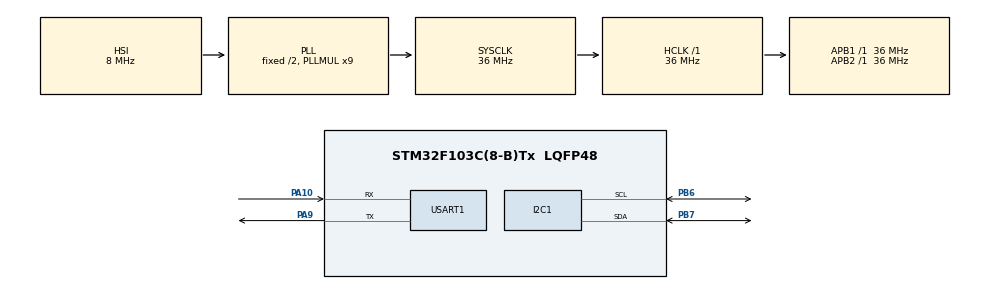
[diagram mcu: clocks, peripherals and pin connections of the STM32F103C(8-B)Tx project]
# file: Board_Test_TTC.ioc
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Mcu.Family=STM32F1
Mcu.Name=STM32F103C(8-B)Tx
Mcu.Package=LQFP48
NVIC.PriorityGroup=NVIC_PRIORITYGROUP_4
PA10.Mode=Asynchronous
PA10.Signal=USART1_RX
PA13.Mode=Serial_Wire
PA13.Signal=SYS_JTMS-SWDIO
PA14.Mode=Serial_Wire
PA14.Signal=SYS_JTCK-SWCLK
PA9.Mode=Asynchronous
PA9.Signal=USART1_TX
PB6.Mode=I2C
PB6.Signal=I2C1_SCL
PB7.Mode=I2C
PB7.Signal=I2C1_SDA
ProjectManager.HeapSize=0x200
ProjectManager.StackSize=0x400
ProjectManager.TargetToolchain=STM32CubeIDE
RCC.AHBFreq_Value=36000000
RCC.APB1Freq_Value=36000000
RCC.APB1TimFreq_Value=36000000
RCC.APB2Freq_Value=36000000
RCC.APB2TimFreq_Value=36000000
RCC.HCLKFreq_Value=36000000
RCC.PLLMUL=RCC_PLL_MUL9
RCC.SYSCLKFreq_VALUE=36000000
RCC.SYSCLKSource=RCC_SYSCLKSOURCE_PLLCLK
RCC.USBFreq_Value=36000000
USART1.VirtualMode=VM_ASYNC
board=custom

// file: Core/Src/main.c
/* USER CODE BEGIN Header */
/**
  ******************************************************************************
  * @file           : main.c
  * @brief          : Main program body
  ******************************************************************************
  * @attention
  *
  * Copyright (c) 2022 STMicroelectronics.
  * All rights reserved.
  *
  * This software is licensed under terms that can be found in the LICENSE file
  * in the root directory of this software component.
  * If no LICENSE file comes with this software, it is provided AS-IS.
  *
  ******************************************************************************
  */
/* USER CODE END Header */
#include "main.h"

I2C_HandleTypeDef hi2c1;

UART_HandleTypeDef huart1;

/* USER CODE BEGIN PV */
uint8_t obcAddress = 87;
uint8_t ttcAddress = 90;
uint8_t epsAddress = 93;
uint8_t adsbAddress = 95;
uint8_t loraAddress = 97;
/* USER CODE END PV */

void SystemClock_Config(void);
static void MX_GPIO_Init(void);
static void MX_I2C1_Init(void);
static void MX_USART1_UART_Init(void);

/* USER CODE BEGIN 0 */
uint8_t receiveBuffer[1] = {0};
uint8_t sendBuffer[10] = {1, 2, 3, 4, 5, 6, 7, 8, 9, 10};
uint8_t lenReceiveBuffer = sizeof(receiveBuffer);
uint8_t lenSendBuffer = sizeof(sendBuffer);
uint8_t bufferCheck[10] = {1, 2, 3, 4, 5, 6, 7, 8, 9, 10};

void send_uart(char *string){
	uint8_t len = strlen(string);
	HAL_UART_Transmit(&huart1, (uint8_t*)string, len, HAL_MAX_DELAY);
}

void clearBuf(){
	for(int i = 0; i<lenReceiveBuffer; i++){
		receiveBuffer[i] = 0;
	}
}

void convert_string(){
	char strReceived[128] = "";
	for(int i = 0; i<lenReceiveBuffer; i++){
		sprintf(&strReceived[i], "%d", receiveBuffer[i]);
	}
	send_uart(strReceived);
}
/* USER CODE END 0 */

int main(void)
{

  /* MCU Configuration--------------------------------------------------------*/

  /* Reset of all peripherals, Initializes the Flash interface and the Systick. */
  HAL_Init();

  /* Configure the system clock */
  SystemClock_Config();

  /* Initialize all configured peripherals */
  MX_GPIO_Init();
  MX_I2C1_Init();
  MX_USART1_UART_Init();
  /* USER CODE BEGIN 2 */
//  send_uart("Enter RX Mode\r\n");
//  if(HAL_I2C_Slave_Receive(&hi2c1, receiveBuffer, lenReceiveBuffer, HAL_MAX_DELAY)  == HAL_OK){
//	  convert_string();
//		  HAL_I2C_Slave_Transmit(&hi2c1, (uint8_t)90, 1, HAL_MAX_DELAY);
//  }
  /* USER CODE END 2 */

  /* Infinite loop */
  /* USER CODE BEGIN WHILE */
  uint8_t res[1] = {0};
  while (1)
  {
    /* USER CODE END WHILE */

    /* USER CODE BEGIN 3 */
//	  send_uart("\r\nWaiting for Data...\r\n");
	  HAL_UART_Receive(&huart1, &res, 1, HAL_MAX_DELAY);
	  HAL_UART_Transmit(&huart1, &res, 1, HAL_MAX_DELAY);
	  if(res[0] == 49){
		  send_uart("Hello");
	  }

  }
  /* USER CODE END 3 */
}

void SystemClock_Config(void)
{
  RCC_OscInitTypeDef RCC_OscInitStruct = {0};
  RCC_ClkInitTypeDef RCC_ClkInitStruct = {0};

  /** Initializes the RCC Oscillators according to the specified parameters
  * in the RCC_OscInitTypeDef structure.
  */
  RCC_OscInitStruct.OscillatorType = RCC_OSCILLATORTYPE_HSI;
  RCC_OscInitStruct.HSIState = RCC_HSI_ON;
  RCC_OscInitStruct.HSICalibrationValue = RCC_HSICALIBRATION_DEFAULT;
  RCC_OscInitStruct.PLL.PLLState = RCC_PLL_ON;
  RCC_OscInitStruct.PLL.PLLSource = RCC_PLLSOURCE_HSI_DIV2;
  RCC_OscInitStruct.PLL.PLLMUL = RCC_PLL_MUL9;
  if (HAL_RCC_OscConfig(&RCC_OscInitStruct) != HAL_OK)
  {
    Error_Handler();
  }

  /** Initializes the CPU, AHB and APB buses clocks
  */
  RCC_ClkInitStruct.ClockType = RCC_CLOCKTYPE_HCLK|RCC_CLOCKTYPE_SYSCLK
                              |RCC_CLOCKTYPE_PCLK1|RCC_CLOCKTYPE_PCLK2;
  RCC_ClkInitStruct.SYSCLKSource = RCC_SYSCLKSOURCE_PLLCLK;
  RCC_ClkInitStruct.AHBCLKDivider = RCC_SYSCLK_DIV1;
  RCC_ClkInitStruct.APB1CLKDivider = RCC_HCLK_DIV1;
  RCC_ClkInitStruct.APB2CLKDivider = RCC_HCLK_DIV1;

  if (HAL_RCC_ClockConfig(&RCC_ClkInitStruct, FLASH_LATENCY_1) != HAL_OK)
  {
    Error_Handler();
  }
}

static void MX_I2C1_Init(void)
{

  hi2c1.Instance = I2C1;
  hi2c1.Init.ClockSpeed = 100000;
  hi2c1.Init.DutyCycle = I2C_DUTYCYCLE_2;
  hi2c1.Init.OwnAddress1 = 0;
  hi2c1.Init.AddressingMode = I2C_ADDRESSINGMODE_7BIT;
  hi2c1.Init.DualAddressMode = I2C_DUALADDRESS_DISABLE;
  hi2c1.Init.OwnAddress2 = 0;
  hi2c1.Init.GeneralCallMode = I2C_GENERALCALL_DISABLE;
  hi2c1.Init.NoStretchMode = I2C_NOSTRETCH_DISABLE;
  if (HAL_I2C_Init(&hi2c1) != HAL_OK)
  {
    Error_Handler();
  }

}

static void MX_USART1_UART_Init(void)
{

  huart1.Instance = USART1;
  huart1.Init.BaudRate = 115200;
  huart1.Init.WordLength = UART_WORDLENGTH_8B;
  huart1.Init.StopBits = UART_STOPBITS_1;
  huart1.Init.Parity = UART_PARITY_NONE;
  huart1.Init.Mode = UART_MODE_TX_RX;
  huart1.Init.HwFlowCtl = UART_HWCONTROL_NONE;
  huart1.Init.OverSampling = UART_OVERSAMPLING_16;
  if (HAL_UART_Init(&huart1) != HAL_OK)
  {
    Error_Handler();
  }

}

static void MX_GPIO_Init(void)
{

  /* GPIO Ports Clock Enable */
  __HAL_RCC_GPIOA_CLK_ENABLE();
  __HAL_RCC_GPIOB_CLK_ENABLE();

}

void Error_Handler(void)
{
  __disable_irq();
  while (1)
  {
  }
}
